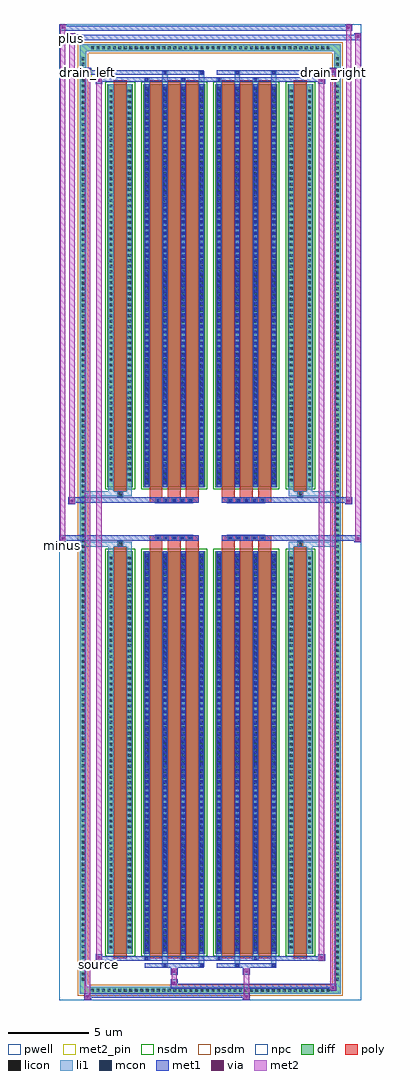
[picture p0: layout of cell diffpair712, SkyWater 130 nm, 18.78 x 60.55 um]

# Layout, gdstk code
import gdstk
lib = gdstk.Library(unit=1e-6, precision=5e-09)
def R(c, l, rs):  # rectangles x0, y0, x1, y1
    for r in rs: c.add(gdstk.rectangle(r[:2], r[2:], *l))
def A(c, l, x, y, w, h, nx, ny, dx, dy):  # array of equal rectangles
    R(c, l, [(x+i*dx, y+j*dy, x+i*dx+w, y+j*dy+h) for i in range(nx) for j in range(ny)])
def P(c, l, *ps):  # polygons
    for p in ps: c.add(gdstk.Polygon(p, *l))
pwell = (64, 44)
diff = (65, 20)
poly = (66, 20)
licon = (66, 44)
li1 = (67, 20)
mcon = (67, 44)
met1 = (68, 20)
via = (68, 44)
met2_pin = (69, 16)
met2 = (69, 20)
nsdm = (93, 44)
psdm = (94, 20)
npc = (95, 20)

diffpair712 = lib.new_cell('diffpair712')
R(diffpair712, pwell, [(-9.37,-29.84,9.37,30.71), (-6.69,-28.03,-0.01,-0.805), (0.01,-28.03,6.69,-0.805), (-6.69,0.805,-0.01,28.03), (0.01,0.805,6.69,28.03)])
A(diffpair712, diff, -7.515, -29.44, 0.41, 0.41, 44, 2, 0.34, 58.47)
A(diffpair712, diff, -8.1, -28.765, 0.41, 0.41, 1, 169, 0, 0.34)
A(diffpair712, diff, 7.69, -28.765, 0.41, 0.41, 1, 169, 0, 0.34)
R(diffpair712, diff, [(-7.515,-29.44,7.515,-29.03), (-8.1,-28.765,-7.69,28.765), (7.69,-28.765,8.1,28.765), (-6.38,-26.985,-4.8,-1.985), (-4.16,-26.985,-0.32,-1.985), (0.32,-26.985,4.16,-1.985), (4.8,-26.985,6.38,-1.985), (-6.38,1.985,-4.8,26.985), (-4.16,1.985,-0.32,26.985), (0.32,1.985,4.16,26.985), (4.8,1.985,6.38,26.985), (-7.515,29.03,7.515,29.44)])
P(diffpair712, diff, [(8.1,29.44),(-8.1,29.44),(-8.1,-29.03),(-7.69,-29.03),(-7.69,29.03),(7.69,29.03),(7.69,-29.03),(-7.69,-29.03),(-8.1,-29.03),(-8.1,-29.44),(8.1,-29.44)])
A(diffpair712, poly, -3.77, -27.235, 0.8, 25.5, 3, 2, 1.13, 28.97)
A(diffpair712, poly, 0.71, -27.235, 0.8, 25.5, 3, 2, 1.13, 28.97)
A(diffpair712, poly, -3.77, -1.735, 0.8, 0.4, 3, 2, 1.13, 3.07)
A(diffpair712, poly, 0.71, -1.735, 0.8, 0.4, 3, 2, 1.13, 3.07)
A(diffpair712, poly, -3.405, -1.335, 0.33, 0.33, 5, 2, 0.5, 2.34)
A(diffpair712, poly, 1.075, -1.335, 0.33, 0.33, 5, 2, 0.5, 2.34)
R(diffpair712, poly, [(-5.99,-27.235,-5.19,-1.735), (5.19,-27.235,5.99,-1.735), (-5.755,-1.735,-5.425,-1.405), (-5.755,-1.735,-5.425,-1.405), (5.425,-1.735,5.755,-1.405), (5.425,-1.735,5.755,-1.405), (-3.77,-1.335,-0.71,-1.005), (0.71,-1.335,3.77,-1.005), (-3.77,1.005,-0.71,1.335), (0.71,1.005,3.77,1.335), (-5.755,1.405,-5.425,1.735), (-5.755,1.405,-5.425,1.735), (5.425,1.405,5.755,1.735), (5.425,1.405,5.755,1.735), (-5.99,1.735,-5.19,27.235), (5.19,1.735,5.99,27.235)])
A(diffpair712, licon, -7.395, -29.32, 0.17, 0.17, 44, 2, 0.34, 58.47)
A(diffpair712, licon, -7.98, -28.645, 0.17, 0.17, 1, 169, 0, 0.34)
A(diffpair712, licon, 7.81, -28.645, 0.17, 0.17, 1, 169, 0, 0.34)
A(diffpair712, licon, -6.24, -26.64, 0.17, 0.17, 1, 72, 0, 0.34)
A(diffpair712, licon, -5.11, -26.64, 0.17, 0.17, 1, 72, 0, 0.34)
A(diffpair712, licon, -4.02, -26.64, 0.17, 0.17, 4, 72, 1.13, 0.34)
A(diffpair712, licon, 0.46, -26.64, 0.17, 0.17, 4, 72, 1.13, 0.34)
A(diffpair712, licon, 4.94, -26.64, 0.17, 0.17, 1, 72, 0, 0.34)
A(diffpair712, licon, 6.07, -26.64, 0.17, 0.17, 1, 72, 0, 0.34)
A(diffpair712, licon, -3.325, -1.255, 0.17, 0.17, 5, 2, 0.5, 2.34)
A(diffpair712, licon, 1.155, -1.255, 0.17, 0.17, 5, 2, 0.5, 2.34)
A(diffpair712, licon, -6.24, 2.33, 0.17, 0.17, 1, 72, 0, 0.34)
A(diffpair712, licon, -5.11, 2.33, 0.17, 0.17, 1, 72, 0, 0.34)
A(diffpair712, licon, -4.02, 2.33, 0.17, 0.17, 4, 72, 1.13, 0.34)
A(diffpair712, licon, 0.46, 2.33, 0.17, 0.17, 4, 72, 1.13, 0.34)
A(diffpair712, licon, 4.94, 2.33, 0.17, 0.17, 1, 72, 0, 0.34)
A(diffpair712, licon, 6.07, 2.33, 0.17, 0.17, 1, 72, 0, 0.34)
R(diffpair712, licon, [(-5.675,-1.655,-5.505,-1.485), (5.505,-1.655,5.675,-1.485), (-5.675,1.485,-5.505,1.655), (5.505,1.485,5.675,1.655)])
A(diffpair712, li1, -7.475, -29.4, 0.33, 0.33, 44, 2, 0.34, 58.47)
A(diffpair712, li1, -8.06, -28.725, 0.33, 0.33, 1, 169, 0, 0.34)
A(diffpair712, li1, 7.73, -28.725, 0.33, 0.33, 1, 169, 0, 0.34)
A(diffpair712, li1, -4.1, -26.985, 0.33, 25, 4, 2, 1.13, 28.97)
A(diffpair712, li1, 0.38, -26.985, 0.33, 25, 4, 2, 1.13, 28.97)
A(diffpair712, li1, -4.02, -26.81, 0.17, 0.17, 4, 69, 1.13, 0.36)
A(diffpair712, li1, -4.02, -26.81, 0.17, 24.65, 4, 2, 1.13, 28.97)
A(diffpair712, li1, 0.46, -26.81, 0.17, 0.17, 4, 69, 1.13, 0.36)
A(diffpair712, li1, 0.46, -26.81, 0.17, 24.65, 4, 2, 1.13, 28.97)
A(diffpair712, li1, -6.32, -26.72, 0.33, 0.33, 1, 72, 0, 0.34)
A(diffpair712, li1, -5.19, -26.72, 0.33, 0.33, 1, 72, 0, 0.34)
A(diffpair712, li1, -4.1, -26.72, 0.33, 0.33, 4, 72, 1.13, 0.34)
A(diffpair712, li1, 0.38, -26.72, 0.33, 0.33, 4, 72, 1.13, 0.34)
A(diffpair712, li1, 4.86, -26.72, 0.33, 0.33, 1, 72, 0, 0.34)
A(diffpair712, li1, 5.99, -26.72, 0.33, 0.33, 1, 72, 0, 0.34)
A(diffpair712, li1, -3.405, -1.335, 0.33, 0.33, 5, 2, 0.5, 2.34)
A(diffpair712, li1, 1.075, -1.335, 0.33, 0.33, 5, 2, 0.5, 2.34)
A(diffpair712, li1, -4.02, 2.16, 0.17, 0.17, 4, 69, 1.13, 0.36)
A(diffpair712, li1, 0.46, 2.16, 0.17, 0.17, 4, 69, 1.13, 0.36)
A(diffpair712, li1, -6.32, 2.25, 0.33, 0.33, 1, 72, 0, 0.34)
A(diffpair712, li1, -5.19, 2.25, 0.33, 0.33, 1, 72, 0, 0.34)
A(diffpair712, li1, -4.1, 2.25, 0.33, 0.33, 4, 72, 1.13, 0.34)
A(diffpair712, li1, 0.38, 2.25, 0.33, 0.33, 4, 72, 1.13, 0.34)
A(diffpair712, li1, 4.86, 2.25, 0.33, 0.33, 1, 72, 0, 0.34)
A(diffpair712, li1, 5.99, 2.25, 0.33, 0.33, 1, 72, 0, 0.34)
R(diffpair712, li1, [(-8.1,-29.44,-7.69,-29.03), (-8.1,-29.44,-7.69,-29.03), (-7.69,-29.44,7.69,-29.03), (7.69,-29.44,8.1,-29.03), (7.69,-29.44,8.1,-29.03), (-8.1,-29.03,-7.69,29.03), (7.69,-29.03,8.1,29.03), (-2.97,-27.79,-2.64,-26.985), (-2.89,-27.79,-2.72,-27.62), (-0.71,-27.79,-0.38,-26.985), (-0.63,-27.79,-0.46,-27.62), (1.51,-27.79,1.84,-26.985), (1.59,-27.79,1.76,-27.62), (3.77,-27.79,4.1,-26.985), (3.85,-27.79,4.02,-27.62), (-4.1,-27.36,-3.77,-26.985), (-4.02,-27.36,-3.85,-27.19), (-1.84,-27.36,-1.51,-26.985), (-1.76,-27.36,-1.59,-27.19), (0.38,-27.36,0.71,-26.985), (0.46,-27.36,0.63,-27.19), (2.64,-27.36,2.97,-26.985), (2.72,-27.36,2.89,-27.19), (-6.32,-26.985,-5.99,-1.985), (-5.19,-26.985,-4.86,-1.985), (4.86,-26.985,5.19,-1.985), (5.99,-26.985,6.32,-1.985), (-6.32,-1.985,-5.99,-1.405), (-5.19,-1.985,-4.86,-1.405), (4.86,-1.985,5.19,-1.405), (5.99,-1.985,6.32,-1.405), (-8.1,-1.735,-5.755,-1.405), (-6.32,-1.735,-5.755,-1.405), (-5.755,-1.735,-5.425,-1.405), (-5.425,-1.735,-4.86,-1.405), (4.86,-1.735,5.425,-1.405), (5.425,-1.735,5.755,-1.405), (5.425,-1.735,8.1,-1.405), (5.755,-1.735,6.32,-1.405), (-8.1,1.405,-5.755,1.735), (-6.32,1.405,-5.755,1.735), (-6.32,1.405,-5.99,1.985), (-5.755,1.405,-5.425,1.735), (-5.425,1.405,-4.86,1.735), (-5.19,1.405,-4.86,1.985), (4.86,1.405,5.425,1.735), (4.86,1.405,5.19,1.985), (5.425,1.405,5.755,1.735), (5.425,1.405,8.1,1.735), (5.755,1.405,6.32,1.735), (5.99,1.405,6.32,1.985), (-6.32,1.985,-5.99,26.985), (-5.19,1.985,-4.86,26.985), (4.86,1.985,5.19,26.985), (5.99,1.985,6.32,26.985), (-4.1,26.985,-3.77,27.36), (-2.97,26.985,-2.64,27.79), (-1.84,26.985,-1.51,27.36), (-0.71,26.985,-0.38,27.79), (0.38,26.985,0.71,27.36), (1.51,26.985,1.84,27.79), (2.64,26.985,2.97,27.36), (3.77,26.985,4.1,27.79), (-4.02,27.19,-3.85,27.36), (-1.76,27.19,-1.59,27.36), (0.46,27.19,0.63,27.36), (2.72,27.19,2.89,27.36), (-2.89,27.62,-2.72,27.79), (-0.63,27.62,-0.46,27.79), (1.59,27.62,1.76,27.79), (3.85,27.62,4.02,27.79), (-8.1,29.03,-7.69,29.44), (-8.1,29.03,-7.69,29.44), (-7.69,29.03,7.69,29.44), (7.69,29.03,8.1,29.44), (7.69,29.03,8.1,29.44)])
A(diffpair712, mcon, -4.02, -26.81, 0.17, 0.17, 4, 69, 1.13, 0.36)
A(diffpair712, mcon, 0.46, -26.81, 0.17, 0.17, 4, 69, 1.13, 0.36)
A(diffpair712, mcon, -3.325, -1.255, 0.17, 0.17, 5, 2, 0.5, 2.34)
A(diffpair712, mcon, 1.155, -1.255, 0.17, 0.17, 5, 2, 0.5, 2.34)
A(diffpair712, mcon, -4.02, 2.16, 0.17, 0.17, 4, 69, 1.13, 0.36)
A(diffpair712, mcon, 0.46, 2.16, 0.17, 0.17, 4, 69, 1.13, 0.36)
R(diffpair712, mcon, [(-2.89,-27.79,-2.72,-27.62), (-0.63,-27.79,-0.46,-27.62), (1.59,-27.79,1.76,-27.62), (3.85,-27.79,4.02,-27.62), (-4.02,-27.36,-3.85,-27.19), (-1.76,-27.36,-1.59,-27.19), (0.46,-27.36,0.63,-27.19), (2.72,-27.36,2.89,-27.19), (-4.02,27.19,-3.85,27.36), (-1.76,27.19,-1.59,27.36), (0.46,27.19,0.63,27.36), (2.72,27.19,2.89,27.36), (-2.89,27.62,-2.72,27.79), (-0.63,27.62,-0.46,27.79), (1.59,27.62,1.76,27.79), (3.85,27.62,4.02,27.79)])
A(diffpair712, met1, -4.08, -26.985, 0.29, 25, 4, 2, 1.13, 28.97)
A(diffpair712, met1, 0.4, -26.985, 0.29, 25, 4, 2, 1.13, 28.97)
A(diffpair712, met1, -4.08, -26.87, 0.29, 0.29, 4, 69, 1.13, 0.36)
A(diffpair712, met1, 0.4, -26.87, 0.29, 0.29, 4, 69, 1.13, 0.36)
A(diffpair712, met1, -3.385, -1.315, 0.29, 0.29, 5, 2, 0.5, 2.34)
A(diffpair712, met1, 1.095, -1.315, 0.29, 0.29, 5, 2, 0.5, 2.34)
A(diffpair712, met1, -4.08, 2.1, 0.29, 0.29, 4, 69, 1.13, 0.36)
A(diffpair712, met1, 0.4, 2.1, 0.29, 0.29, 4, 69, 1.13, 0.36)
R(diffpair712, met1, [(-7.83,-29.84,-7.4,-29.41), (2.025,-29.84,2.455,-29.41), (-7.83,-29.7,2.455,-29.41), (7.4,-29.27,7.83,-28.84), (-2.455,-29.13,7.83,-28.84), (-2.455,-28.99,-2.025,-28.56), (-2.455,-28.28,-2.025,-27.85), (2.025,-28.28,2.455,-27.85), (-4.08,-27.85,-0.4,-27.56), (-2.95,-27.85,-2.66,-27.56), (-0.69,-27.85,-0.4,-27.56), (0.4,-27.85,4.08,-27.56), (1.53,-27.85,1.82,-27.56), (3.79,-27.85,4.08,-27.56), (-7.12,-27.42,-6.69,-26.99), (-7.12,-27.42,-4.08,-27.13), (-4.08,-27.42,-3.79,-27.13), (-4.08,-27.42,-0.4,-27.13), (-1.82,-27.42,-1.53,-27.13), (-0.4,-27.42,0.4,-27.13), (0.4,-27.42,0.69,-27.13), (0.4,-27.42,4.08,-27.13), (2.66,-27.42,2.95,-27.13), (4.08,-27.42,7.12,-27.13), (6.69,-27.42,7.12,-26.99), (-9.37,-1.435,-8.94,-1.005), (8.94,-1.435,9.37,-1.005), (-9.37,-1.335,-0.71,-1.005), (-3.77,-1.335,-0.71,-1.005), (0.71,-1.335,3.77,-1.005), (0.71,-1.335,9.37,-1.005), (-8.8,0.905,-8.37,1.335), (8.37,0.905,8.8,1.335), (-8.8,1.005,-3.77,1.335), (-3.77,1.005,-0.71,1.335), (0.71,1.005,3.77,1.335), (3.77,1.005,8.8,1.335), (-7.12,26.99,-6.69,27.42), (6.69,26.99,7.12,27.42), (-7.12,27.13,-4.08,27.42), (-4.08,27.13,-3.79,27.42), (-4.08,27.13,-0.4,27.42), (-1.82,27.13,-1.53,27.42), (-0.4,27.13,0.4,27.42), (0.4,27.13,0.69,27.42), (0.4,27.13,4.08,27.42), (2.66,27.13,2.95,27.42), (4.08,27.13,7.12,27.42), (-7.83,27.56,-7.4,27.99), (-7.83,27.56,-4.08,27.85), (-4.08,27.56,-0.4,27.85), (-2.95,27.56,-2.66,27.85), (-0.69,27.56,-0.4,27.85), (0.4,27.56,4.08,27.85), (1.53,27.56,1.82,27.85), (3.79,27.56,4.08,27.85), (4.08,27.56,7.83,27.85), (7.4,27.56,7.83,27.99), (-8.8,29.71,-8.37,30.14), (-8.8,29.71,-6.69,30.04), (-6.69,29.71,6.69,30.04), (6.69,29.71,9.37,30.04), (8.94,29.71,9.37,30.14), (-9.37,30.28,-8.94,30.71), (-9.37,30.28,-6.69,30.61), (-6.69,30.28,6.69,30.61), (6.69,30.28,8.8,30.61), (8.37,30.28,8.8,30.71)])
R(diffpair712, via, [(-7.69,-29.7,-7.54,-29.55), (2.165,-29.7,2.315,-29.55), (7.54,-29.13,7.69,-28.98), (-2.315,-28.85,-2.165,-28.7), (-2.315,-28.14,-2.165,-27.99), (2.165,-28.14,2.315,-27.99), (-6.98,-27.28,-6.83,-27.13), (6.83,-27.28,6.98,-27.13), (-9.23,-1.295,-9.08,-1.145), (9.08,-1.295,9.23,-1.145), (-8.66,1.045,-8.51,1.195), (8.51,1.045,8.66,1.195), (-6.98,27.13,-6.83,27.28), (6.83,27.13,6.98,27.28), (-7.69,27.7,-7.54,27.85), (7.54,27.7,7.69,27.85), (-8.66,29.85,-8.51,30), (9.08,29.85,9.23,30), (-9.23,30.42,-9.08,30.57), (8.51,30.42,8.66,30.57)])
R(diffpair712, met2_pin, [(-7.155,-27.87,-6.655,-27.37), (-9.405,-1.885,-8.905,-1.385), (-7.865,27.44,-7.365,27.94), (7.365,27.44,7.865,27.94), (-8.835,29.59,-8.335,30.09)])
R(diffpair712, met2, [(-7.78,-29.79,-7.45,-29.46), (-7.78,-29.79,-7.45,27.94), (2.075,-29.79,2.405,-29.46), (2.075,-29.46,2.405,-28.23), (7.45,-29.22,7.78,-28.89), (7.45,-29.22,7.78,27.94), (-2.405,-28.94,-2.075,-28.61), (-2.405,-28.61,-2.075,-28.23), (-2.405,-28.23,-2.075,-27.9), (2.075,-28.23,2.405,-27.9), (-7.07,-27.37,-6.74,-27.04), (-7.07,-27.37,-6.74,27.37), (6.74,-27.37,7.07,-27.04), (6.74,-27.37,7.07,27.37), (-9.32,-1.385,-8.99,-1.055), (-9.32,-1.385,-8.99,30.66), (8.99,-1.385,9.32,-1.055), (8.99,-1.385,9.32,30.09), (-8.75,0.955,-8.42,1.285), (-8.75,0.955,-8.42,30.09), (8.42,0.955,8.75,1.285), (8.42,0.955,8.75,30.66), (-7.07,27.04,-6.74,27.37), (6.74,27.04,7.07,27.37), (-7.78,27.61,-7.45,27.94), (7.45,27.61,7.78,27.94), (-8.75,29.76,-8.42,30.09), (8.99,29.76,9.32,30.09), (-9.32,30.33,-8.99,30.66), (8.42,30.33,8.75,30.66)])
P(diffpair712, met2, [(9.32,-1.385),(9.32,-1.385),(9.32,-1.055),(9.32,-1.055)],
  [(9.32,29.76),(9.32,29.76),(9.32,30.09),(9.32,30.09)],
  [(-8.99,-1.385),(-8.99,-1.385),(-8.99,-1.055),(-8.99,-1.055)],
  [(-8.99,30.33),(-8.99,30.33),(-8.99,30.66),(-8.99,30.66)],
  [(8.75,0.955),(8.75,0.955),(8.75,1.285),(8.75,1.285)],
  [(8.75,30.33),(8.75,30.33),(8.75,30.66),(8.75,30.66)],
  [(-8.42,0.955),(-8.42,0.955),(-8.42,1.285),(-8.42,1.285)],
  [(-8.42,29.76),(-8.42,29.76),(-8.42,30.09),(-8.42,30.09)],
  [(-7.45,-29.79),(-7.45,-29.79),(-7.45,-29.46),(-7.45,-29.46)],
  [(-7.45,27.61),(-7.45,27.61),(-7.45,27.94),(-7.45,27.94)],
  [(7.78,-29.22),(7.78,-29.22),(7.78,-28.89),(7.78,-28.89)],
  [(7.78,27.61),(7.78,27.61),(7.78,27.94),(7.78,27.94)],
  [(-6.74,-27.37),(-6.74,-27.37),(-6.74,-27.04),(-6.74,-27.04)],
  [(-6.74,27.04),(-6.74,27.04),(-6.74,27.37),(-6.74,27.37)],
  [(7.07,-27.37),(7.07,-27.37),(7.07,-27.04),(7.07,-27.04)],
  [(7.07,27.04),(7.07,27.04),(7.07,27.37),(7.07,27.37)])
R(diffpair712, nsdm, [(-6.51,-27.115,-4.67,-1.855), (-4.29,-27.115,-0.19,-1.855), (0.19,-27.115,4.29,-1.855), (4.67,-27.115,6.51,-1.855), (-6.51,1.855,-4.67,27.115), (-4.29,1.855,-0.19,27.115), (0.19,1.855,4.29,27.115), (4.67,1.855,6.51,27.115)])
P(diffpair712, psdm, [(8.23,29.57),(-8.23,29.57),(-8.23,-28.9),(-7.56,-28.9),(-7.56,28.9),(7.56,28.9),(7.56,-28.9),(-7.56,-28.9),(-8.23,-28.9),(-8.23,-29.57),(8.23,-29.57)])
A(diffpair712, npc, -3.425, -1.355, 0.37, 0.37, 5, 2, 0.5, 2.34)
A(diffpair712, npc, 1.055, -1.355, 0.37, 0.37, 5, 2, 0.5, 2.34)
R(diffpair712, npc, [(-5.775,-1.755,-5.405,-1.385), (5.405,-1.755,5.775,-1.385), (-3.425,-1.355,-2.555,-0.985), (-3.425,-1.355,-2.555,-0.985), (-2.925,-1.355,-2.055,-0.985), (-2.925,-1.355,-2.055,-0.985), (-2.425,-1.355,-1.555,-0.985), (-2.425,-1.355,-1.555,-0.985), (-1.925,-1.355,-1.055,-0.985), (-1.925,-1.355,-1.055,-0.985), (1.055,-1.355,1.925,-0.985), (1.055,-1.355,1.925,-0.985), (1.555,-1.355,2.425,-0.985), (1.555,-1.355,2.425,-0.985), (2.055,-1.355,2.925,-0.985), (2.055,-1.355,2.925,-0.985), (2.555,-1.355,3.425,-0.985), (2.555,-1.355,3.425,-0.985), (-3.425,0.985,-2.555,1.355), (-3.425,0.985,-2.555,1.355), (-2.925,0.985,-2.055,1.355), (-2.925,0.985,-2.055,1.355), (-2.425,0.985,-1.555,1.355), (-2.425,0.985,-1.555,1.355), (-1.925,0.985,-1.055,1.355), (-1.925,0.985,-1.055,1.355), (1.055,0.985,1.925,1.355), (1.055,0.985,1.925,1.355), (1.555,0.985,2.425,1.355), (1.555,0.985,2.425,1.355), (2.055,0.985,2.925,1.355), (2.055,0.985,2.925,1.355), (2.555,0.985,3.425,1.355), (2.555,0.985,3.425,1.355), (-5.775,1.385,-5.405,1.755), (5.405,1.385,5.775,1.755)])
diffpair712.add(gdstk.Label('minus', (-9.155,-1.635), layer=69, texttype=5))
diffpair712.add(gdstk.Label('drain_right', (7.615,27.69), layer=69, texttype=5))
diffpair712.add(gdstk.Label('drain_left', (-7.615,27.69), layer=69, texttype=5))
diffpair712.add(gdstk.Label('source', (-6.905,-27.62), layer=69, texttype=5))
diffpair712.add(gdstk.Label('plus', (-8.585,29.84), layer=69, texttype=5))

lib.write_gds('diffpair712.gds')
